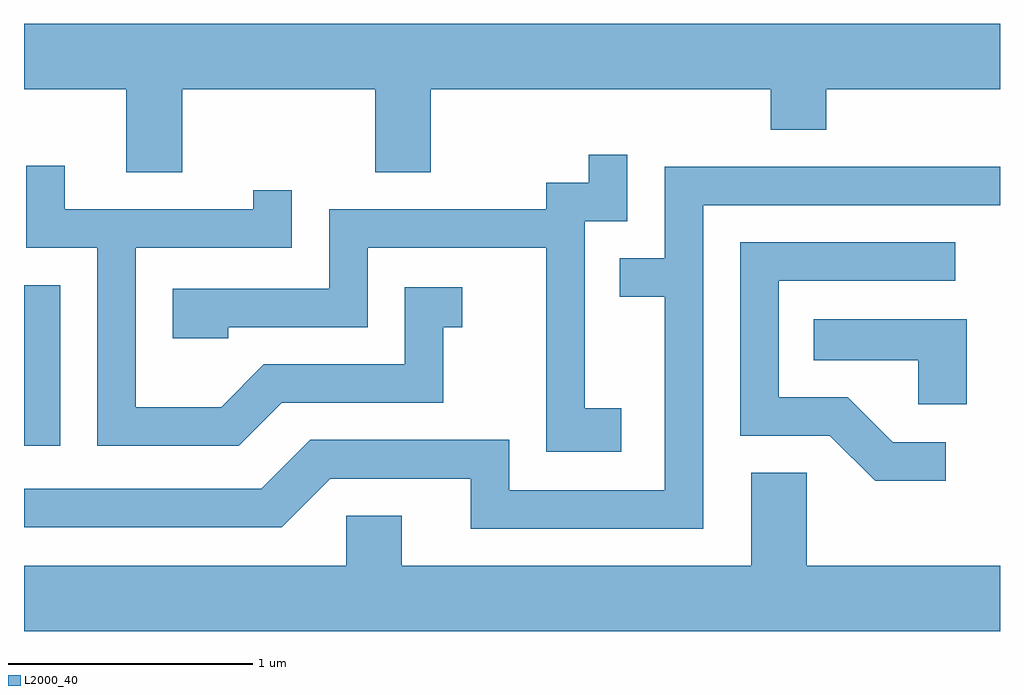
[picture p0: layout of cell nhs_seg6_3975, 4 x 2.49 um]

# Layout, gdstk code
import gdstk
lib = gdstk.Library(unit=1e-6, precision=1e-09)
def R(c, l, rs):  # rectangles x0, y0, x1, y1
    for r in rs: c.add(gdstk.rectangle(r[:2], r[2:], *l))
def P(c, l, *ps):  # polygons
    for p in ps: c.add(gdstk.Polygon(p, *l))
L2000_40 = (2000, 40)

nhs_seg6_3975 = lib.new_cell('nhs_seg6_3975')
R(nhs_seg6_3975, L2000_40, [(305.611,1561.896,305.759,1562.554)])
P(nhs_seg6_3975, L2000_40, [(306.259,1563.356),(307.051,1563.356),(307.051,1563.016),(307.279,1563.016),(307.279,1563.356),(308.671,1563.356),(308.671,1563.191),(308.899,1563.191),(308.899,1563.356),(309.611,1563.356),(309.611,1563.624),(305.611,1563.624),(305.611,1563.356),(306.031,1563.356),(306.031,1563.016),(306.259,1563.016)],
  [(308.059,1562.049),(307.909,1562.049),(307.909,1562.816),(308.084,1562.816),(308.084,1563.088),(307.926,1563.088),(307.926,1562.974),(307.751,1562.974),(307.751,1562.864),(306.861,1562.864),(306.861,1562.539),(306.221,1562.539),(306.221,1562.336),(306.449,1562.336),(306.449,1562.381),(307.019,1562.381),(307.019,1562.706),(307.751,1562.706),(307.751,1561.871),(308.059,1561.871)],
  [(306.667,1562.071),(307.329,1562.071),(307.329,1562.381),(307.408,1562.381),(307.408,1562.544),(307.171,1562.544),(307.171,1562.229),(306.594,1562.229),(306.419,1562.054),(306.069,1562.054),(306.069,1562.706),(306.709,1562.706),(306.709,1562.943),(306.551,1562.943),(306.551,1562.864),(305.779,1562.864),(305.779,1563.043),(305.621,1563.043),(305.621,1562.706),(305.911,1562.706),(305.911,1561.896),(306.492,1561.896)],
  [(308.394,1562.881),(309.611,1562.881),(309.611,1563.039),(308.236,1563.039),(308.236,1562.664),(308.053,1562.664),(308.053,1562.506),(308.236,1562.506),(308.236,1561.714),(307.599,1561.714),(307.599,1561.919),(306.784,1561.919),(306.584,1561.719),(305.611,1561.719),(305.611,1561.561),(306.667,1561.561),(306.867,1561.761),(307.441,1561.761),(307.441,1561.556),(308.394,1561.556)],
  [(309.388,1561.909),(309.172,1561.909),(308.987,1562.094),(308.704,1562.094),(308.704,1562.571),(309.428,1562.571),(309.428,1562.729),(308.546,1562.729),(308.546,1561.936),(308.914,1561.936),(309.099,1561.751),(309.388,1561.751)],
  [(309.474,1562.414),(308.848,1562.414),(308.848,1562.246),(309.276,1562.246),(309.276,1562.066),(309.474,1562.066)],
  [(309.611,1561.404),(308.819,1561.404),(308.819,1561.784),(308.591,1561.784),(308.591,1561.404),(307.159,1561.404),(307.159,1561.609),(306.931,1561.609),(306.931,1561.404),(305.611,1561.404),(305.611,1561.136),(309.611,1561.136)])

lib.write_gds('nhs_seg6_3975.gds')
